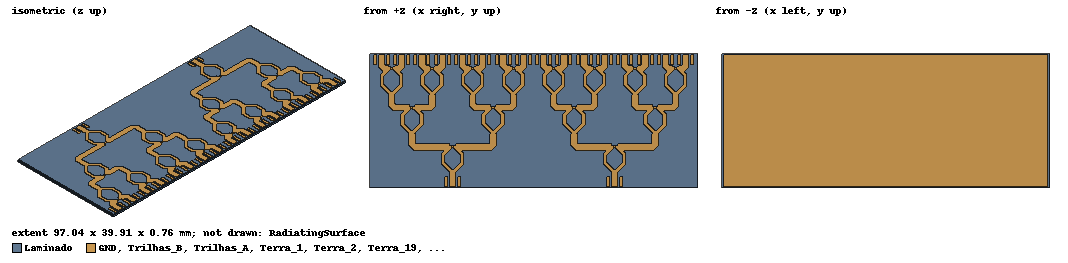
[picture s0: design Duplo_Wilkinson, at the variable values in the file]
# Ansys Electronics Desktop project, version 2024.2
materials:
  vacuum: permittivity=1
  ZYF300CA_C: permittivity=2.94 dielectric_loss_tangent=0.0016
  copper: permeability=0.999991 conductivity=58000000

design Duplo_Wilkinson (HFSS, HFSS Hybrid Modal Network, model units mm)
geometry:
  Laminado [ZYF300CA_C] = box(corner=(-48.52mm, -0.52mm, 0mm), size=(97.04mm, 39.908325mm, 0.76mm))
  GND = polyline(z=0mm, xy in mm: (-48, 0) (48, 0) (48, 38.868325) (-48, 38.868325) (-48, 0), closed, covered)
  Trilhas_B = polyline(z=0.76mm, xy in mm: (8.683, 21.45969821) (9.52235159, 22.2990498) (6.50794686, 22.2990498) (5.0535, 23.75349666) (5.0535, 27.2455498) (5.26885159, 27.2455498) (2.683, 29.83140139) (2.683, 33.08247311) (3.52235159, 33.9218247) (3.50794686, 33.9218247) (2.0535, 35.37627157) (2.0535, 38.868325) (3.9465, 38.868325) (3.9465, 36.16037784) (4.29205314, 35.8148247) (5.2, 35.8148247) (5.2, 35.3183247) (5.65, 35.3183247) (5.65, 34.4183247) (5.48114841, 34.4183247) (5.2, 34.13717629) (5.2, 33.9218247) (4.98464841, 33.9218247) (3.717, 32.65417629) (3.717, 30.25969821) (6, 27.97669821) (8.283, 30.25969821) (8.283, 32.65417629) (7.01535159, 33.9218247) (6.8, 33.9218247) (6.8, 34.13717629) (6.51885159, 34.4183247) (6.35, 34.4183247) (6.35, 35.3183247) (6.8, 35.3183247) (6.8, 35.8148247) (7.70794686, 35.8148247) (8.0535, 36.16037784) (8.0535, 38.868325) (9.9465, 38.868325) (9.9465, 35.37627157) (8.49205314, 33.9218247) (8.47764841, 33.9218247) (9.317, 33.08247311) (9.317, 29.83140139) (6.73114841, 27.2455498) (6.9465, 27.2455498) (6.9465, 24.53760294) (7.29205314, 24.1920498) (11.2, 24.1920498) (11.2, 23.6955498) (11.65, 23.6955498) (11.65, 22.7955498) (11.48114841, 22.7955498) (11.2, 22.51440139) (11.2, 22.2990498) (10.98464841, 22.2990498) (9.717, 21.03140139) (9.717, 18.63692331) (12, 16.35392331) (14.283, 18.63692331) (14.283, 21.03140139) (13.01535159, 22.2990498) (12.8, 22.2990498) (12.8, 22.51440139) (12.51885159, 22.7955498) (12.35, 22.7955498) (12.35, 23.6955498) (12.8, 23.6955498) (12.8, 24.1920498) (16.70794686, 24.1920498) (17.0535, 24.53760294) (17.0535, 27.2455498) (17.26885159, 27.2455498) (14.683, 29.83140139) (14.683, 33.08247311) (15.52235159, 33.9218247) (15.50794686, 33.9218247) (14.0535, 35.37627157) (14.0535, 38.868325) (15.9465, 38.868325) (15.9465, 36.16037784) (16.29205314, 35.8148247) (17.2, 35.8148247) (17.2, 35.3183247) (17.65, 35.3183247) (17.65, 34.4183247) (17.48114841, 34.4183247) (17.2, 34.13717629) (17.2, 33.9218247) (16.98464841, 33.9218247) (15.717, 32.65417629) (15.717, 30.25969821) (18, 27.97669821) (20.283, 30.25969821) (20.283, 32.65417629) (19.01535159, 33.9218247) (18.8, 33.9218247) (18.8, 34.13717629) (18.51885159, 34.4183247) (18.35, 34.4183247) (18.35, 35.3183247) (18.8, 35.3183247) (18.8, 35.8148247) (19.70794686, 35.8148247) (20.0535, 36.16037784) (20.0535, 38.868325) (21.9465, 38.868325) (21.9465, 35.37627157) (20.49205314, 33.9218247) (20.47764841, 33.9218247) (21.317, 33.08247311) (21.317, 29.83140139) (18.73114841, 27.2455498) (18.9465, 27.2455498) (18.9465, 23.75349666) (17.49205314, 22.2990498) (14.47764841, 22.2990498) (15.317, 21.45969821) (15.317, 18.20862649) (12.73114841, 15.6227749) (12.9465, 15.6227749) (12.9465, 12.91482804) (13.29205314, 12.5692749) (23.2, 12.5692749) (23.2, 12.0727749) (23.65, 12.0727749) (23.65, 11.1727749) (23.48114841, 11.1727749) (23.2, 10.89162649) (23.2, 10.6762749) (22.98464841, 10.6762749) (21.717, 9.40862649) (21.717, 7.01414841) (24, 4.73114841) (26.283, 7.01414841) (26.283, 9.40862649) (25.01535159, 10.6762749) (24.8, 10.6762749) (24.8, 10.89162649) (24.51885159, 11.1727749) (24.35, 11.1727749) (24.35, 12.0727749) (24.8, 12.0727749) (24.8, 12.5692749) (34.70794686, 12.5692749) (35.0535, 12.91482804) (35.0535, 15.6227749) (35.26885159, 15.6227749) (32.683, 18.20862649) (32.683, 21.45969821) (33.52235159, 22.2990498) (30.50794686, 22.2990498) (29.0535, 23.75349666) (29.0535, 27.2455498) (29.26885159, 27.2455498) (26.683, 29.83140139) (26.683, 33.08247311) (27.52235159, 33.9218247) (27.50794686, 33.9218247) (26.0535, 35.37627157) (26.0535, 38.868325) (27.9465, 38.868325) (27.9465, 36.16037784) (28.29205314, 35.8148247) (29.2, 35.8148247) (29.2, 35.3183247) (29.65, 35.3183247) (29.65, 34.4183247) (29.48114841, 34.4183247) (29.2, 34.13717629) (29.2, 33.9218247) (28.98464841, 33.9218247) (27.717, 32.65417629) (27.717, 30.25969821) (30, 27.97669821) (32.283, 30.25969821) (32.283, 32.65417629) (31.01535159, 33.9218247) (30.8, 33.9218247) (30.8, 34.13717629) (30.51885159, 34.4183247) (30.35, 34.4183247) (30.35, 35.3183247) (30.8, 35.3183247) (30.8, 35.8148247) (31.70794686, 35.8148247) (32.0535, 36.16037784) (32.0535, 38.868325) (33.9465, 38.868325) (33.9465, 35.37627157) (32.49205314, 33.9218247) (32.47764841, 33.9218247) (33.317, 33.08247311) (33.317, 29.83140139) (30.73114841, 27.2455498) (30.9465, 27.2455498) (30.9465, 24.53760294) (31.29205314, 24.1920498) (35.2, 24.1920498) (35.2, 23.6955498) (35.65, 23.6955498) (35.65, 22.7955498) (35.48114841, 22.7955498) (35.2, 22.51440139) (35.2, 22.2990498) (34.98464841, 22.2990498) (33.717, 21.03140139) (33.717, 18.63692331) (36, 16.35392331) (38.283, 18.63692331) (38.283, 21.03140139) (37.01535159, 22.2990498) (36.8, 22.2990498) (36.8, 22.51440139) (36.51885159, 22.7955498) (36.35, 22.7955498) (36.35, 23.6955498) (36.8, 23.6955498) (36.8, 24.1920498) (40.70794686, 24.1920498) (41.0535, 24.53760294) (41.0535, 27.2455498) (41.26885159, 27.2455498) (38.683, 29.83140139) (38.683, 33.08247311) (39.52235159, 33.9218247) (39.50794686, 33.9218247) (38.0535, 35.37627157) (38.0535, 38.868325) (39.9465, 38.868325) (39.9465, 36.16037784) (40.29205314, 35.8148247) (41.2, 35.8148247) (41.2, 35.3183247) (41.65, 35.3183247) (41.65, 34.4183247) (41.48114841, 34.4183247) (41.2, 34.13717629) (41.2, 33.9218247) (40.98464841, 33.9218247) (39.717, 32.65417629) (39.717, 30.25969821) (42, 27.97669821) (44.283, 30.25969821) (44.283, 32.65417629) (43.01535159, 33.9218247) (42.8, 33.9218247) (42.8, 34.13717629) (42.51885159, 34.4183247) (42.35, 34.4183247) (42.35, 35.3183247) (42.8, 35.3183247) (42.8, 35.8148247) (43.70794686, 35.8148247) (44.0535, 36.16037784) (44.0535, 38.868325) (45.9465, 38.868325) (45.9465, 35.37627157) (44.49205314, 33.9218247) (44.47764841, 33.9218247) (45.317, 33.08247311) (45.317, 29.83140139) (42.73114841, 27.2455498) (42.9465, 27.2455498) (42.9465, 23.75349666) (41.49205314, 22.2990498) (38.47764841, 22.2990498) (39.317, 21.45969821) (39.317, 18.20862649) (36.73114841, 15.6227749) (36.9465, 15.6227749) (36.9465, 12.13072176) (35.49205314, 10.6762749) (26.47764841, 10.6762749) (27.317, 9.83692331) (27.317, 6.58585159) (24.73114841, 4) (24.9465, 4) (24.9465, 0) (23.0535, 0) (23.0535, 4) (23.26885159, 4) (20.683, 6.58585159) (20.683, 9.83692331) (21.52235159, 10.6762749) (12.50794686, 10.6762749) (11.0535, 12.13072176) (11.0535, 15.6227749) (11.26885159, 15.6227749) (8.683, 18.20862649) (8.683, 21.45969821), closed, covered)
  Trilhas_A = polyline(z=0.76mm, xy in mm: (-39.317, 21.45969821) (-38.47764841, 22.2990498) (-41.49205314, 22.2990498) (-42.9465, 23.75349666) (-42.9465, 27.2455498) (-42.73114841, 27.2455498) (-45.317, 29.83140139) (-45.317, 33.08247311) (-44.47764841, 33.9218247) (-44.49205314, 33.9218247) (-45.9465, 35.37627157) (-45.9465, 38.868325) (-44.0535, 38.868325) (-44.0535, 36.16037784) (-43.70794686, 35.8148247) (-42.8, 35.8148247) (-42.8, 35.3183247) (-42.35, 35.3183247) (-42.35, 34.4183247) (-42.51885159, 34.4183247) (-42.8, 34.13717629) (-42.8, 33.9218247) (-43.01535159, 33.9218247) (-44.283, 32.65417629) (-44.283, 30.25969821) (-42, 27.97669821) (-39.717, 30.25969821) (-39.717, 32.65417629) (-40.98464841, 33.9218247) (-41.2, 33.9218247) (-41.2, 34.13717629) (-41.48114841, 34.4183247) (-41.65, 34.4183247) (-41.65, 35.3183247) (-41.2, 35.3183247) (-41.2, 35.8148247) (-40.29205314, 35.8148247) (-39.9465, 36.16037784) (-39.9465, 38.868325) (-38.0535, 38.868325) (-38.0535, 35.37627157) (-39.50794686, 33.9218247) (-39.52235159, 33.9218247) (-38.683, 33.08247311) (-38.683, 29.83140139) (-41.26885159, 27.2455498) (-41.0535, 27.2455498) (-41.0535, 24.53760294) (-40.70794686, 24.1920498) (-36.8, 24.1920498) (-36.8, 23.6955498) (-36.35, 23.6955498) (-36.35, 22.7955498) (-36.51885159, 22.7955498) (-36.8, 22.51440139) (-36.8, 22.2990498) (-37.01535159, 22.2990498) (-38.283, 21.03140139) (-38.283, 18.63692331) (-36, 16.35392331) (-33.717, 18.63692331) (-33.717, 21.03140139) (-34.98464841, 22.2990498) (-35.2, 22.2990498) (-35.2, 22.51440139) (-35.48114841, 22.7955498) (-35.65, 22.7955498) (-35.65, 23.6955498) (-35.2, 23.6955498) (-35.2, 24.1920498) (-31.29205314, 24.1920498) (-30.9465, 24.53760294) (-30.9465, 27.2455498) (-30.73114841, 27.2455498) (-33.317, 29.83140139) (-33.317, 33.08247311) (-32.47764841, 33.9218247) (-32.49205314, 33.9218247) (-33.9465, 35.37627157) (-33.9465, 38.868325) (-32.0535, 38.868325) (-32.0535, 36.16037784) (-31.70794686, 35.8148247) (-30.8, 35.8148247) (-30.8, 35.3183247) (-30.35, 35.3183247) (-30.35, 34.4183247) (-30.51885159, 34.4183247) (-30.8, 34.13717629) (-30.8, 33.9218247) (-31.01535159, 33.9218247) (-32.283, 32.65417629) (-32.283, 30.25969821) (-30, 27.97669821) (-27.717, 30.25969821) (-27.717, 32.65417629) (-28.98464841, 33.9218247) (-29.2, 33.9218247) (-29.2, 34.13717629) (-29.48114841, 34.4183247) (-29.65, 34.4183247) (-29.65, 35.3183247) (-29.2, 35.3183247) (-29.2, 35.8148247) (-28.29205314, 35.8148247) (-27.9465, 36.16037784) (-27.9465, 38.868325) (-26.0535, 38.868325) (-26.0535, 35.37627157) (-27.50794686, 33.9218247) (-27.52235159, 33.9218247) (-26.683, 33.08247311) (-26.683, 29.83140139) (-29.26885159, 27.2455498) (-29.0535, 27.2455498) (-29.0535, 23.75349666) (-30.50794686, 22.2990498) (-33.52235159, 22.2990498) (-32.683, 21.45969821) (-32.683, 18.20862649) (-35.26885159, 15.6227749) (-35.0535, 15.6227749) (-35.0535, 12.91482804) (-34.70794686, 12.5692749) (-24.8, 12.5692749) (-24.8, 12.0727749) (-24.35, 12.0727749) (-24.35, 11.1727749) (-24.51885159, 11.1727749) (-24.8, 10.89162649) (-24.8, 10.6762749) (-25.01535159, 10.6762749) (-26.283, 9.40862649) (-26.283, 7.01414841) (-24, 4.73114841) (-21.717, 7.01414841) (-21.717, 9.40862649) (-22.98464841, 10.6762749) (-23.2, 10.6762749) (-23.2, 10.89162649) (-23.48114841, 11.1727749) (-23.65, 11.1727749) (-23.65, 12.0727749) (-23.2, 12.0727749) (-23.2, 12.5692749) (-13.29205314, 12.5692749) (-12.9465, 12.91482804) (-12.9465, 15.6227749) (-12.73114841, 15.6227749) (-15.317, 18.20862649) (-15.317, 21.45969821) (-14.47764841, 22.2990498) (-17.49205314, 22.2990498) (-18.9465, 23.75349666) (-18.9465, 27.2455498) (-18.73114841, 27.2455498) (-21.317, 29.83140139) (-21.317, 33.08247311) (-20.47764841, 33.9218247) (-20.49205314, 33.9218247) (-21.9465, 35.37627157) (-21.9465, 38.868325) (-20.0535, 38.868325) (-20.0535, 36.16037784) (-19.70794686, 35.8148247) (-18.8, 35.8148247) (-18.8, 35.3183247) (-18.35, 35.3183247) (-18.35, 34.4183247) (-18.51885159, 34.4183247) (-18.8, 34.13717629) (-18.8, 33.9218247) (-19.01535159, 33.9218247) (-20.283, 32.65417629) (-20.283, 30.25969821) (-18, 27.97669821) (-15.717, 30.25969821) (-15.717, 32.65417629) (-16.98464841, 33.9218247) (-17.2, 33.9218247) (-17.2, 34.13717629) (-17.48114841, 34.4183247) (-17.65, 34.4183247) (-17.65, 35.3183247) (-17.2, 35.3183247) (-17.2, 35.8148247) (-16.29205314, 35.8148247) (-15.9465, 36.16037784) (-15.9465, 38.868325) (-14.0535, 38.868325) (-14.0535, 35.37627157) (-15.50794686, 33.9218247) (-15.52235159, 33.9218247) (-14.683, 33.08247311) (-14.683, 29.83140139) (-17.26885159, 27.2455498) (-17.0535, 27.2455498) (-17.0535, 24.53760294) (-16.70794686, 24.1920498) (-12.8, 24.1920498) (-12.8, 23.6955498) (-12.35, 23.6955498) (-12.35, 22.7955498) (-12.51885159, 22.7955498) (-12.8, 22.51440139) (-12.8, 22.2990498) (-13.01535159, 22.2990498) (-14.283, 21.03140139) (-14.283, 18.63692331) (-12, 16.35392331) (-9.717, 18.63692331) (-9.717, 21.03140139) (-10.98464841, 22.2990498) (-11.2, 22.2990498) (-11.2, 22.51440139) (-11.48114841, 22.7955498) (-11.65, 22.7955498) (-11.65, 23.6955498) (-11.2, 23.6955498) (-11.2, 24.1920498) (-7.29205314, 24.1920498) (-6.9465, 24.53760294) (-6.9465, 27.2455498) (-6.73114841, 27.2455498) (-9.317, 29.83140139) (-9.317, 33.08247311) (-8.47764841, 33.9218247) (-8.49205314, 33.9218247) (-9.9465, 35.37627157) (-9.9465, 38.868325) (-8.0535, 38.868325) (-8.0535, 36.16037784) (-7.70794686, 35.8148247) (-6.8, 35.8148247) (-6.8, 35.3183247) (-6.35, 35.3183247) (-6.35, 34.4183247) (-6.51885159, 34.4183247) (-6.8, 34.13717629) (-6.8, 33.9218247) (-7.01535159, 33.9218247) (-8.283, 32.65417629) (-8.283, 30.25969821) (-6, 27.97669821) (-3.717, 30.25969821) (-3.717, 32.65417629) (-4.98464841, 33.9218247) (-5.2, 33.9218247) (-5.2, 34.13717629) (-5.48114841, 34.4183247) (-5.65, 34.4183247) (-5.65, 35.3183247) (-5.2, 35.3183247) (-5.2, 35.8148247) (-4.29205314, 35.8148247) (-3.9465, 36.16037784) (-3.9465, 38.868325) (-2.0535, 38.868325) (-2.0535, 35.37627157) (-3.50794686, 33.9218247) (-3.52235159, 33.9218247) (-2.683, 33.08247311) (-2.683, 29.83140139) (-5.26885159, 27.2455498) (-5.0535, 27.2455498) (-5.0535, 23.75349666) (-6.50794686, 22.2990498) (-9.52235159, 22.2990498) (-8.683, 21.45969821) (-8.683, 18.20862649) (-11.26885159, 15.6227749) (-11.0535, 15.6227749) (-11.0535, 12.13072176) (-12.50794686, 10.6762749) (-21.52235159, 10.6762749) (-20.683, 9.83692331) (-20.683, 6.58585159) (-23.26885159, 4) (-23.0535, 4) (-23.0535, 0) (-24.9465, 0) (-24.9465, 4) (-24.73114841, 4) (-27.317, 6.58585159) (-27.317, 9.83692331) (-26.47764841, 10.6762749) (-35.49205314, 10.6762749) (-36.9465, 12.13072176) (-36.9465, 15.6227749) (-36.73114841, 15.6227749) (-39.317, 18.20862649) (-39.317, 21.45969821), closed, covered)
  Terra_1 = polyline(z=0.76mm, xy in mm: (-26.37, 0) (-25.47, 0) (-25.47, 2.8) (-26.37, 2.8) (-26.37, 0), closed, covered)
  Via_1 [copper] = cylinder(axis=Z, base_centre=(-25.92mm, 1.35mm, 0mm), radius=0.175mm, height=0.76mm, segments=12)
  Terra_2 = polyline(z=0.76mm, xy in mm: (-22.53, 0) (-21.63, 0) (-21.63, 2.8) (-22.53, 2.8) (-22.53, 0), closed, covered)
  Via_2 [copper] = cylinder(axis=Z, base_centre=(-22.08mm, 1.35mm, 0mm), radius=0.175mm, height=0.76mm, segments=12)
  Terra_3 = polyline(z=0.76mm, xy in mm: (-47.37, 36.068325) (-46.47, 36.068325) (-46.47, 38.868325) (-47.37, 38.868325) (-47.37, 36.068325), closed, covered)
  Via_3 [copper] = cylinder(axis=Z, base_centre=(-46.92mm, 37.518325mm, 0mm), radius=0.175mm, height=0.76mm, segments=12)
  Terra_4 = polyline(z=0.76mm, xy in mm: (-43.53, 36.068325) (-42.63, 36.068325) (-42.63, 38.868325) (-43.53, 38.868325) (-43.53, 36.068325), closed, covered)
  Via_4 [copper] = cylinder(axis=Z, base_centre=(-43.08mm, 37.518325mm, 0mm), radius=0.175mm, height=0.76mm, segments=12)
  Terra_5 = polyline(z=0.76mm, xy in mm: (-41.37, 36.068325) (-40.47, 36.068325) (-40.47, 38.868325) (-41.37, 38.868325) (-41.37, 36.068325), closed, covered)
  Via_5 [copper] = cylinder(axis=Z, base_centre=(-40.92mm, 37.518325mm, 0mm), radius=0.175mm, height=0.76mm, segments=12)
  Terra_6 = polyline(z=0.76mm, xy in mm: (-37.53, 36.068325) (-36.63, 36.068325) (-36.63, 38.868325) (-37.53, 38.868325) (-37.53, 36.068325), closed, covered)
  Via_6 [copper] = cylinder(axis=Z, base_centre=(-37.08mm, 37.518325mm, 0mm), radius=0.175mm, height=0.76mm, segments=12)
  Terra_7 = polyline(z=0.76mm, xy in mm: (-35.37, 36.068325) (-34.47, 36.068325) (-34.47, 38.868325) (-35.37, 38.868325) (-35.37, 36.068325), closed, covered)
  Via_7 [copper] = cylinder(axis=Z, base_centre=(-34.92mm, 37.518325mm, 0mm), radius=0.175mm, height=0.76mm, segments=12)
  Terra_8 = polyline(z=0.76mm, xy in mm: (-31.53, 36.068325) (-30.63, 36.068325) (-30.63, 38.868325) (-31.53, 38.868325) (-31.53, 36.068325), closed, covered)
  Via_8 [copper] = cylinder(axis=Z, base_centre=(-31.08mm, 37.518325mm, 0mm), radius=0.175mm, height=0.76mm, segments=12)
  Terra_9 = polyline(z=0.76mm, xy in mm: (-29.37, 36.068325) (-28.47, 36.068325) (-28.47, 38.868325) (-29.37, 38.868325) (-29.37, 36.068325), closed, covered)
  Via_9 [copper] = cylinder(axis=Z, base_centre=(-28.92mm, 37.518325mm, 0mm), radius=0.175mm, height=0.76mm, segments=12)
  Terra_10 = polyline(z=0.76mm, xy in mm: (-25.53, 36.068325) (-24.63, 36.068325) (-24.63, 38.868325) (-25.53, 38.868325) (-25.53, 36.068325), closed, covered)
  Via_10 [copper] = cylinder(axis=Z, base_centre=(-25.08mm, 37.518325mm, 0mm), radius=0.175mm, height=0.76mm, segments=12)
  Terra_11 = polyline(z=0.76mm, xy in mm: (-23.37, 36.068325) (-22.47, 36.068325) (-22.47, 38.868325) (-23.37, 38.868325) (-23.37, 36.068325), closed, covered)
  Via_11 [copper] = cylinder(axis=Z, base_centre=(-22.92mm, 37.518325mm, 0mm), radius=0.175mm, height=0.76mm, segments=12)
  Terra_12 = polyline(z=0.76mm, xy in mm: (-19.53, 36.068325) (-18.63, 36.068325) (-18.63, 38.868325) (-19.53, 38.868325) (-19.53, 36.068325), closed, covered)
  Via_12 [copper] = cylinder(axis=Z, base_centre=(-19.08mm, 37.518325mm, 0mm), radius=0.175mm, height=0.76mm, segments=12)
  Terra_13 = polyline(z=0.76mm, xy in mm: (-17.37, 36.068325) (-16.47, 36.068325) (-16.47, 38.868325) (-17.37, 38.868325) (-17.37, 36.068325), closed, covered)
  Via_13 [copper] = cylinder(axis=Z, base_centre=(-16.92mm, 37.518325mm, 0mm), radius=0.175mm, height=0.76mm, segments=12)
  Terra_14 = polyline(z=0.76mm, xy in mm: (-13.53, 36.068325) (-12.63, 36.068325) (-12.63, 38.868325) (-13.53, 38.868325) (-13.53, 36.068325), closed, covered)
  Via_14 [copper] = cylinder(axis=Z, base_centre=(-13.08mm, 37.518325mm, 0mm), radius=0.175mm, height=0.76mm, segments=12)
  Terra_15 = polyline(z=0.76mm, xy in mm: (-11.37, 36.068325) (-10.47, 36.068325) (-10.47, 38.868325) (-11.37, 38.868325) (-11.37, 36.068325), closed, covered)
  Via_15 [copper] = cylinder(axis=Z, base_centre=(-10.92mm, 37.518325mm, 0mm), radius=0.175mm, height=0.76mm, segments=12)
  Terra_16 = polyline(z=0.76mm, xy in mm: (-7.53, 36.068325) (-6.63, 36.068325) (-6.63, 38.868325) (-7.53, 38.868325) (-7.53, 36.068325), closed, covered)
  Via_16 [copper] = cylinder(axis=Z, base_centre=(-7.08mm, 37.518325mm, 0mm), radius=0.175mm, height=0.76mm, segments=12)
  Terra_17 = polyline(z=0.76mm, xy in mm: (-5.37, 36.068325) (-4.47, 36.068325) (-4.47, 38.868325) (-5.37, 38.868325) (-5.37, 36.068325), closed, covered)
  Via_17 [copper] = cylinder(axis=Z, base_centre=(-4.92mm, 37.518325mm, 0mm), radius=0.175mm, height=0.76mm, segments=12)
  Terra_18 = polyline(z=0.76mm, xy in mm: (-1.53, 36.068325) (-0.63, 36.068325) (-0.63, 38.868325) (-1.53, 38.868325) (-1.53, 36.068325), closed, covered)
  Via_18 [copper] = cylinder(axis=Z, base_centre=(-1.08mm, 37.518325mm, 0mm), radius=0.175mm, height=0.76mm, segments=12)
  Terra_19 = polyline(z=0.76mm, xy in mm: (21.63, 0) (22.53, 0) (22.53, 2.8) (21.63, 2.8) (21.63, 0), closed, covered)
  Via_19 [copper] = cylinder(axis=Z, base_centre=(22.08mm, 1.35mm, 0mm), radius=0.175mm, height=0.76mm, segments=12)
  Terra_20 = polyline(z=0.76mm, xy in mm: (25.47, 0) (26.37, 0) (26.37, 2.8) (25.47, 2.8) (25.47, 0), closed, covered)
  Via_20 [copper] = cylinder(axis=Z, base_centre=(25.92mm, 1.35mm, 0mm), radius=0.175mm, height=0.76mm, segments=12)
  Terra_21 = polyline(z=0.76mm, xy in mm: (0.63, 36.068325) (1.53, 36.068325) (1.53, 38.868325) (0.63, 38.868325) (0.63, 36.068325), closed, covered)
  Via_21 [copper] = cylinder(axis=Z, base_centre=(1.08mm, 37.518325mm, 0mm), radius=0.175mm, height=0.76mm, segments=12)
  Terra_22 = polyline(z=0.76mm, xy in mm: (4.47, 36.068325) (5.37, 36.068325) (5.37, 38.868325) (4.47, 38.868325) (4.47, 36.068325), closed, covered)
  Via_22 [copper] = cylinder(axis=Z, base_centre=(4.92mm, 37.518325mm, 0mm), radius=0.175mm, height=0.76mm, segments=12)
  Terra_23 = polyline(z=0.76mm, xy in mm: (6.63, 36.068325) (7.53, 36.068325) (7.53, 38.868325) (6.63, 38.868325) (6.63, 36.068325), closed, covered)
  Via_23 [copper] = cylinder(axis=Z, base_centre=(7.08mm, 37.518325mm, 0mm), radius=0.175mm, height=0.76mm, segments=12)
  Terra_24 = polyline(z=0.76mm, xy in mm: (10.47, 36.068325) (11.37, 36.068325) (11.37, 38.868325) (10.47, 38.868325) (10.47, 36.068325), closed, covered)
  Via_24 [copper] = cylinder(axis=Z, base_centre=(10.92mm, 37.518325mm, 0mm), radius=0.175mm, height=0.76mm, segments=12)
  Terra_25 = polyline(z=0.76mm, xy in mm: (12.63, 36.068325) (13.53, 36.068325) (13.53, 38.868325) (12.63, 38.868325) (12.63, 36.068325), closed, covered)
  Via_25 [copper] = cylinder(axis=Z, base_centre=(13.08mm, 37.518325mm, 0mm), radius=0.175mm, height=0.76mm, segments=12)
  Terra_26 = polyline(z=0.76mm, xy in mm: (16.47, 36.068325) (17.37, 36.068325) (17.37, 38.868325) (16.47, 38.868325) (16.47, 36.068325), closed, covered)
  Via_26 [copper] = cylinder(axis=Z, base_centre=(16.92mm, 37.518325mm, 0mm), radius=0.175mm, height=0.76mm, segments=12)
  Terra_27 = polyline(z=0.76mm, xy in mm: (18.63, 36.068325) (19.53, 36.068325) (19.53, 38.868325) (18.63, 38.868325) (18.63, 36.068325), closed, covered)
  Via_27 [copper] = cylinder(axis=Z, base_centre=(19.08mm, 37.518325mm, 0mm), radius=0.175mm, height=0.76mm, segments=12)
  Terra_28 = polyline(z=0.76mm, xy in mm: (22.47, 36.068325) (23.37, 36.068325) (23.37, 38.868325) (22.47, 38.868325) (22.47, 36.068325), closed, covered)
  Via_28 [copper] = cylinder(axis=Z, base_centre=(22.92mm, 37.518325mm, 0mm), radius=0.175mm, height=0.76mm, segments=12)
  Terra_29 = polyline(z=0.76mm, xy in mm: (24.63, 36.068325) (25.53, 36.068325) (25.53, 38.868325) (24.63, 38.868325) (24.63, 36.068325), closed, covered)
  Via_29 [copper] = cylinder(axis=Z, base_centre=(25.08mm, 37.518325mm, 0mm), radius=0.175mm, height=0.76mm, segments=12)
  Terra_30 = polyline(z=0.76mm, xy in mm: (28.47, 36.068325) (29.37, 36.068325) (29.37, 38.868325) (28.47, 38.868325) (28.47, 36.068325), closed, covered)
  Via_30 [copper] = cylinder(axis=Z, base_centre=(28.92mm, 37.518325mm, 0mm), radius=0.175mm, height=0.76mm, segments=12)
  Terra_31 = polyline(z=0.76mm, xy in mm: (30.63, 36.068325) (31.53, 36.068325) (31.53, 38.868325) (30.63, 38.868325) (30.63, 36.068325), closed, covered)
  Via_31 [copper] = cylinder(axis=Z, base_centre=(31.08mm, 37.518325mm, 0mm), radius=0.175mm, height=0.76mm, segments=12)
  Terra_32 = polyline(z=0.76mm, xy in mm: (34.47, 36.068325) (35.37, 36.068325) (35.37, 38.868325) (34.47, 38.868325) (34.47, 36.068325), closed, covered)
  Via_32 [copper] = cylinder(axis=Z, base_centre=(34.92mm, 37.518325mm, 0mm), radius=0.175mm, height=0.76mm, segments=12)
  Terra_33 = polyline(z=0.76mm, xy in mm: (36.63, 36.068325) (37.53, 36.068325) (37.53, 38.868325) (36.63, 38.868325) (36.63, 36.068325), closed, covered)
  Via_33 [copper] = cylinder(axis=Z, base_centre=(37.08mm, 37.518325mm, 0mm), radius=0.175mm, height=0.76mm, segments=12)
  Terra_34 = polyline(z=0.76mm, xy in mm: (40.47, 36.068325) (41.37, 36.068325) (41.37, 38.868325) (40.47, 38.868325) (40.47, 36.068325), closed, covered)
  Via_34 [copper] = cylinder(axis=Z, base_centre=(40.92mm, 37.518325mm, 0mm), radius=0.175mm, height=0.76mm, segments=12)
  Terra_35 = polyline(z=0.76mm, xy in mm: (42.63, 36.068325) (43.53, 36.068325) (43.53, 38.868325) (42.63, 38.868325) (42.63, 36.068325), closed, covered)
  Via_35 [copper] = cylinder(axis=Z, base_centre=(43.08mm, 37.518325mm, 0mm), radius=0.175mm, height=0.76mm, segments=12)
  Terra_36 = polyline(z=0.76mm, xy in mm: (46.47, 36.068325) (47.37, 36.068325) (47.37, 38.868325) (46.47, 38.868325) (46.47, 36.068325), closed, covered)
  Via_36 [copper] = cylinder(axis=Z, base_centre=(46.92mm, 37.518325mm, 0mm), radius=0.175mm, height=0.76mm, segments=12)
  Via_1_1 = Via_1.copy()
  Via_2_1 = Via_2.copy()
  Via_3_1 = Via_3.copy()
  Via_4_1 = Via_4.copy()
  Via_5_1 = Via_5.copy()
  Via_6_1 = Via_6.copy()
  Via_7_1 = Via_7.copy()
  Via_8_1 = Via_8.copy()
  Via_9_1 = Via_9.copy()
  Via_10_1 = Via_10.copy()
  Via_11_1 = Via_11.copy()
  Via_12_1 = Via_12.copy()
  Via_13_1 = Via_13.copy()
  Via_14_1 = Via_14.copy()
  Via_15_1 = Via_15.copy()
  Via_16_1 = Via_16.copy()
  Via_17_1 = Via_17.copy()
  Via_18_1 = Via_18.copy()
  Via_19_1 = Via_19.copy()
  Via_20_1 = Via_20.copy()
  Via_21_1 = Via_21.copy()
  Via_22_1 = Via_22.copy()
  Via_23_1 = Via_23.copy()
  Via_24_1 = Via_24.copy()
  Via_25_1 = Via_25.copy()
  Via_26_1 = Via_26.copy()
  Via_27_1 = Via_27.copy()
  Via_28_1 = Via_28.copy()
  Via_29_1 = Via_29.copy()
  Via_30_1 = Via_30.copy()
  Via_31_1 = Via_31.copy()
  Via_32_1 = Via_32.copy()
  Via_33_1 = Via_33.copy()
  Via_34_1 = Via_34.copy()
  Via_35_1 = Via_35.copy()
  Via_36_1 = Via_36.copy()
  Laminado.subtract(Via_1_1, Via_2_1, Via_3_1, Via_4_1, Via_5_1, Via_6_1, Via_7_1, Via_8_1, Via_9_1, Via_10_1, Via_11_1, Via_12_1, Via_13_1, Via_14_1, Via_15_1, Via_16_1, Via_17_1, Via_18_1, Via_19_1, Via_20_1, Via_21_1, Via_22_1, Via_23_1, Via_24_1, Via_25_1, Via_26_1, Via_27_1, Via_28_1, Via_29_1, Via_30_1, Via_31_1, Via_32_1, Via_33_1, Via_34_1, Via_35_1, Via_36_1)
  R_A1 = polyline(z=0.76mm, xy in mm: (-24.35, 11.3227749) (-23.65, 11.3227749) (-23.65, 11.9227749) (-24.35, 11.9227749) (-24.35, 11.3227749), closed, covered)
  R_A2 = polyline(z=0.76mm, xy in mm: (-36.35, 22.9455498) (-35.65, 22.9455498) (-35.65, 23.5455498) (-36.35, 23.5455498) (-36.35, 22.9455498), closed, covered)
  R_A3 = polyline(z=0.76mm, xy in mm: (-12.35, 22.9455498) (-11.65, 22.9455498) (-11.65, 23.5455498) (-12.35, 23.5455498) (-12.35, 22.9455498), closed, covered)
  R_A4 = polyline(z=0.76mm, xy in mm: (-42.35, 34.5683247) (-41.65, 34.5683247) (-41.65, 35.1683247) (-42.35, 35.1683247) (-42.35, 34.5683247), closed, covered)
  R_A5 = polyline(z=0.76mm, xy in mm: (-30.35, 34.5683247) (-29.65, 34.5683247) (-29.65, 35.1683247) (-30.35, 35.1683247) (-30.35, 34.5683247), closed, covered)
  R_A6 = polyline(z=0.76mm, xy in mm: (-18.35, 34.5683247) (-17.65, 34.5683247) (-17.65, 35.1683247) (-18.35, 35.1683247) (-18.35, 34.5683247), closed, covered)
  R_A7 = polyline(z=0.76mm, xy in mm: (-6.35, 34.5683247) (-5.65, 34.5683247) (-5.65, 35.1683247) (-6.35, 35.1683247) (-6.35, 34.5683247), closed, covered)
  R_B8 = polyline(z=0.76mm, xy in mm: (23.65, 11.3227749) (24.35, 11.3227749) (24.35, 11.9227749) (23.65, 11.9227749) (23.65, 11.3227749), closed, covered)
  R_B9 = polyline(z=0.76mm, xy in mm: (11.65, 22.9455498) (12.35, 22.9455498) (12.35, 23.5455498) (11.65, 23.5455498) (11.65, 22.9455498), closed, covered)
  R_B10 = polyline(z=0.76mm, xy in mm: (35.65, 22.9455498) (36.35, 22.9455498) (36.35, 23.5455498) (35.65, 23.5455498) (35.65, 22.9455498), closed, covered)
  R_B11 = polyline(z=0.76mm, xy in mm: (5.65, 34.5683247) (6.35, 34.5683247) (6.35, 35.1683247) (5.65, 35.1683247) (5.65, 34.5683247), closed, covered)
  R_B12 = polyline(z=0.76mm, xy in mm: (17.65, 34.5683247) (18.35, 34.5683247) (18.35, 35.1683247) (17.65, 35.1683247) (17.65, 34.5683247), closed, covered)
  R_B13 = polyline(z=0.76mm, xy in mm: (29.65, 34.5683247) (30.35, 34.5683247) (30.35, 35.1683247) (29.65, 35.1683247) (29.65, 34.5683247), closed, covered)
  R_B14 = polyline(z=0.76mm, xy in mm: (41.65, 34.5683247) (42.35, 34.5683247) (42.35, 35.1683247) (41.65, 35.1683247) (41.65, 34.5683247), closed, covered)
  Face_A_IN = polyline(y=0mm, xz in mm: (-24.9465, 0) (-23.0535, 0) (-23.0535, 0.76) (-24.9465, 0.76) (-24.9465, 0), closed, covered)
  Face_A1 = polyline(y=38.868325mm, xz in mm: (-45.9465, 0) (-44.0535, 0) (-44.0535, 0.76) (-45.9465, 0.76) (-45.9465, 0), closed, covered)
  Face_A2 = polyline(y=38.868325mm, xz in mm: (-39.9465, 0) (-38.0535, 0) (-38.0535, 0.76) (-39.9465, 0.76) (-39.9465, 0), closed, covered)
  Face_A3 = polyline(y=38.868325mm, xz in mm: (-33.9465, 0) (-32.0535, 0) (-32.0535, 0.76) (-33.9465, 0.76) (-33.9465, 0), closed, covered)
  Face_A4 = polyline(y=38.868325mm, xz in mm: (-27.9465, 0) (-26.0535, 0) (-26.0535, 0.76) (-27.9465, 0.76) (-27.9465, 0), closed, covered)
  Face_A5 = polyline(y=38.868325mm, xz in mm: (-21.9465, 0) (-20.0535, 0) (-20.0535, 0.76) (-21.9465, 0.76) (-21.9465, 0), closed, covered)
  Face_A6 = polyline(y=38.868325mm, xz in mm: (-15.9465, 0) (-14.0535, 0) (-14.0535, 0.76) (-15.9465, 0.76) (-15.9465, 0), closed, covered)
  Face_A7 = polyline(y=38.868325mm, xz in mm: (-9.9465, 0) (-8.0535, 0) (-8.0535, 0.76) (-9.9465, 0.76) (-9.9465, 0), closed, covered)
  Face_A8 = polyline(y=38.868325mm, xz in mm: (-3.9465, 0) (-2.0535, 0) (-2.0535, 0.76) (-3.9465, 0.76) (-3.9465, 0), closed, covered)
  Face_B_IN = polyline(y=0mm, xz in mm: (23.0535, 0) (24.9465, 0) (24.9465, 0.76) (23.0535, 0.76) (23.0535, 0), closed, covered)
  Face_B1 = polyline(y=38.868325mm, xz in mm: (2.0535, 0) (3.9465, 0) (3.9465, 0.76) (2.0535, 0.76) (2.0535, 0), closed, covered)
  Face_B2 = polyline(y=38.868325mm, xz in mm: (8.0535, 0) (9.9465, 0) (9.9465, 0.76) (8.0535, 0.76) (8.0535, 0), closed, covered)
  Face_B3 = polyline(y=38.868325mm, xz in mm: (14.0535, 0) (15.9465, 0) (15.9465, 0.76) (14.0535, 0.76) (14.0535, 0), closed, covered)
  Face_B4 = polyline(y=38.868325mm, xz in mm: (20.0535, 0) (21.9465, 0) (21.9465, 0.76) (20.0535, 0.76) (20.0535, 0), closed, covered)
  Face_B5 = polyline(y=38.868325mm, xz in mm: (26.0535, 0) (27.9465, 0) (27.9465, 0.76) (26.0535, 0.76) (26.0535, 0), closed, covered)
  Face_B6 = polyline(y=38.868325mm, xz in mm: (32.0535, 0) (33.9465, 0) (33.9465, 0.76) (32.0535, 0.76) (32.0535, 0), closed, covered)
  Face_B7 = polyline(y=38.868325mm, xz in mm: (38.0535, 0) (39.9465, 0) (39.9465, 0.76) (38.0535, 0.76) (38.0535, 0), closed, covered)
  Face_B8 = polyline(y=38.868325mm, xz in mm: (44.0535, 0) (45.9465, 0) (45.9465, 0.76) (44.0535, 0.76) (44.0535, 0), closed, covered)
  RadiatingSurface [vacuum] = region(absolute_offset=19.646365mm on all sides)
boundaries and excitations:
  Cobre_35um: Finite Conductivity Objects=[GND, Trilhas_B, Trilhas_A, Terra_1..Terra_36] UseMaterial Material=copper Thickness=0.035mm Roughness=0.5um IsInternal
  R_A1: Lumped RLC Objects=R_A1 CurrentLine{(-24.35, 11.6227749, 0.76) -> (-23.65, 11.6227749, 0.76)} RLC_Type=Parallel Resistance=100ohm
  R_A2: Lumped RLC Objects=R_A2 CurrentLine{(-36.35, 23.2455498, 0.76) -> (-35.65, 23.2455498, 0.76)} RLC_Type=Parallel Resistance=100ohm
  R_A3: Lumped RLC Objects=R_A3 CurrentLine{(-12.35, 23.2455498, 0.76) -> (-11.65, 23.2455498, 0.76)} RLC_Type=Parallel Resistance=100ohm
  R_A4: Lumped RLC Objects=R_A4 CurrentLine{(-42.35, 34.8683247, 0.76) -> (-41.65, 34.8683247, 0.76)} RLC_Type=Parallel Resistance=100ohm
  R_A5: Lumped RLC Objects=R_A5 CurrentLine{(-30.35, 34.8683247, 0.76) -> (-29.65, 34.8683247, 0.76)} RLC_Type=Parallel Resistance=100ohm
  R_A6: Lumped RLC Objects=R_A6 CurrentLine{(-18.35, 34.8683247, 0.76) -> (-17.65, 34.8683247, 0.76)} RLC_Type=Parallel Resistance=100ohm
  R_A7: Lumped RLC Objects=R_A7 CurrentLine{(-6.35, 34.8683247, 0.76) -> (-5.65, 34.8683247, 0.76)} RLC_Type=Parallel Resistance=100ohm
  R_B8: Lumped RLC Objects=R_B8 CurrentLine{(23.65, 11.6227749, 0.76) -> (24.35, 11.6227749, 0.76)} RLC_Type=Parallel Resistance=100ohm
  R_B9: Lumped RLC Objects=R_B9 CurrentLine{(11.65, 23.2455498, 0.76) -> (12.35, 23.2455498, 0.76)} RLC_Type=Parallel Resistance=100ohm
  R_B10: Lumped RLC Objects=R_B10 CurrentLine{(35.65, 23.2455498, 0.76) -> (36.35, 23.2455498, 0.76)} RLC_Type=Parallel Resistance=100ohm
  R_B11: Lumped RLC Objects=R_B11 CurrentLine{(5.65, 34.8683247, 0.76) -> (6.35, 34.8683247, 0.76)} RLC_Type=Parallel Resistance=100ohm
  R_B12: Lumped RLC Objects=R_B12 CurrentLine{(17.65, 34.8683247, 0.76) -> (18.35, 34.8683247, 0.76)} RLC_Type=Parallel Resistance=100ohm
  R_B13: Lumped RLC Objects=R_B13 CurrentLine{(29.65, 34.8683247, 0.76) -> (30.35, 34.8683247, 0.76)} RLC_Type=Parallel Resistance=100ohm
  R_B14: Lumped RLC Objects=R_B14 CurrentLine{(41.65, 34.8683247, 0.76) -> (42.35, 34.8683247, 0.76)} RLC_Type=Parallel Resistance=100ohm
  Open1: Radiation Objects=RadiatingSurface
  A_IN: Lumped Port Objects=Face_A_IN LumpedPortType=Modal Modes{Mode1{IntLine{(-24, 0, 0) -> (-24, 0, 0.76)} CharImp=Zpi RenormImp=50ohm}} Impedance=50ohm
  A1: Lumped Port Objects=Face_A1 LumpedPortType=Modal Modes{Mode1{IntLine{(-45, 38.868325, 0) -> (-45, 38.868325, 0.76)} CharImp=Zpi RenormImp=50ohm}} Impedance=50ohm
  A2: Lumped Port Objects=Face_A2 LumpedPortType=Modal Modes{Mode1{IntLine{(-39, 38.868325, 0) -> (-39, 38.868325, 0.76)} CharImp=Zpi RenormImp=50ohm}} Impedance=50ohm
  A3: Lumped Port Objects=Face_A3 LumpedPortType=Modal Modes{Mode1{IntLine{(-33, 38.868325, 0) -> (-33, 38.868325, 0.76)} CharImp=Zpi RenormImp=50ohm}} Impedance=50ohm
  A4: Lumped Port Objects=Face_A4 LumpedPortType=Modal Modes{Mode1{IntLine{(-27, 38.868325, 0) -> (-27, 38.868325, 0.76)} CharImp=Zpi RenormImp=50ohm}} Impedance=50ohm
  A5: Lumped Port Objects=Face_A5 LumpedPortType=Modal Modes{Mode1{IntLine{(-21, 38.868325, 0) -> (-21, 38.868325, 0.76)} CharImp=Zpi RenormImp=50ohm}} Impedance=50ohm
  A6: Lumped Port Objects=Face_A6 LumpedPortType=Modal Modes{Mode1{IntLine{(-15, 38.868325, 0) -> (-15, 38.868325, 0.76)} CharImp=Zpi RenormImp=50ohm}} Impedance=50ohm
  A7: Lumped Port Objects=Face_A7 LumpedPortType=Modal Modes{Mode1{IntLine{(-9, 38.868325, 0) -> (-9, 38.868325, 0.76)} CharImp=Zpi RenormImp=50ohm}} Impedance=50ohm
  A8: Lumped Port Objects=Face_A8 LumpedPortType=Modal Modes{Mode1{IntLine{(-3, 38.868325, 0) -> (-3, 38.868325, 0.76)} CharImp=Zpi RenormImp=50ohm}} Impedance=50ohm
  B_IN: Lumped Port Objects=Face_B_IN LumpedPortType=Modal Modes{Mode1{IntLine{(24, 0, 0) -> (24, 0, 0.76)} CharImp=Zpi RenormImp=50ohm}} Impedance=50ohm
  B1: Lumped Port Objects=Face_B1 LumpedPortType=Modal Modes{Mode1{IntLine{(3, 38.868325, 0) -> (3, 38.868325, 0.76)} CharImp=Zpi RenormImp=50ohm}} Impedance=50ohm
  B2: Lumped Port Objects=Face_B2 LumpedPortType=Modal Modes{Mode1{IntLine{(9, 38.868325, 0) -> (9, 38.868325, 0.76)} CharImp=Zpi RenormImp=50ohm}} Impedance=50ohm
  B3: Lumped Port Objects=Face_B3 LumpedPortType=Modal Modes{Mode1{IntLine{(15, 38.868325, 0) -> (15, 38.868325, 0.76)} CharImp=Zpi RenormImp=50ohm}} Impedance=50ohm
  B4: Lumped Port Objects=Face_B4 LumpedPortType=Modal Modes{Mode1{IntLine{(21, 38.868325, 0) -> (21, 38.868325, 0.76)} CharImp=Zpi RenormImp=50ohm}} Impedance=50ohm
  B5: Lumped Port Objects=Face_B5 LumpedPortType=Modal Modes{Mode1{IntLine{(27, 38.868325, 0) -> (27, 38.868325, 0.76)} CharImp=Zpi RenormImp=50ohm}} Impedance=50ohm
  B6: Lumped Port Objects=Face_B6 LumpedPortType=Modal Modes{Mode1{IntLine{(33, 38.868325, 0) -> (33, 38.868325, 0.76)} CharImp=Zpi RenormImp=50ohm}} Impedance=50ohm
  B7: Lumped Port Objects=Face_B7 LumpedPortType=Modal Modes{Mode1{IntLine{(39, 38.868325, 0) -> (39, 38.868325, 0.76)} CharImp=Zpi RenormImp=50ohm}} Impedance=50ohm
  B8: Lumped Port Objects=Face_B8 LumpedPortType=Modal Modes{Mode1{IntLine{(45, 38.868325, 0) -> (45, 38.868325, 0.76)} CharImp=Zpi RenormImp=50ohm}} Impedance=50ohm
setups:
  Divisor: HfssDriven Frequency=5.17GHz MaxDeltaS=0.012 MaximumPasses=12 MinimumPasses=2 MinimumConvergedPasses=1 PercentRefinement=28 BasisOrder=1 PortAccuracy=2 DrivenSolverType="Direct Solver"
    sweep Banda: 5090MHz to 5250MHz step 20MHz; Type=Discrete
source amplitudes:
  A_IN:1: 1W 0deg
  A1:1, A2:1, A3:1, A4:1, A5:1, A6:1, A7:1, A8:1, B_IN:1, B1:1, B2:1, B3:1, B4:1, B5:1, B6:1, B7:1, B8:1: 0W 0deg
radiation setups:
  3D: Infinite Sphere Theta=0deg..180deg step 2deg Phi=-180deg..180deg step 2deg
  Elevation: Infinite Sphere Theta=-180deg..180deg step 1deg Phi=0deg..90deg step 90deg
  Azimuth: Infinite Sphere Theta=90deg..90deg step 0deg Phi=-180deg..180deg step 1deg
